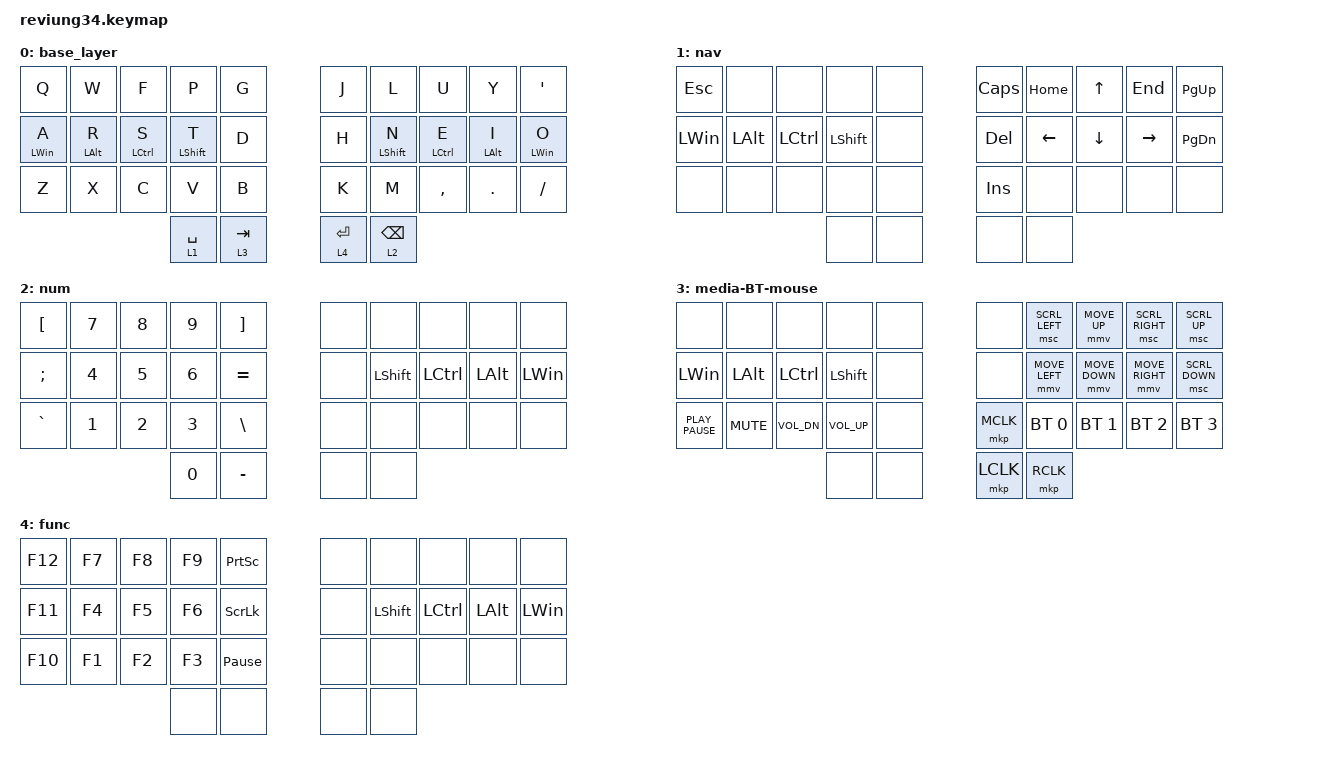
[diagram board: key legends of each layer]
#include <behaviors.dtsi>
#include <dt-bindings/zmk/bt.h>
#include <dt-bindings/zmk/keys.h>
#include <dt-bindings/zmk/mouse.h>

&mt { flavor = "tap-preferred"; };

/ {
    keymap {
        compatible = "zmk,keymap";

        base_layer {
            bindings = <
&kp Q           &kp W           &kp F               &kp P             &kp G        &kp J        &kp L             &kp U               &kp Y           &kp SQT
&mt LEFT_WIN A  &mt LEFT_ALT R  &mt LEFT_CONTROL S  &mt LEFT_SHIFT T  &kp D        &kp H        &mt LEFT_SHIFT N  &mt LEFT_CONTROL E  &mt LEFT_ALT I  &mt LEFT_WIN O
&kp Z           &kp X           &kp C               &kp V             &kp B        &kp K        &kp M             &kp COMMA           &kp DOT         &kp FSLH
                                                    &lt 1 SPACE       &lt 3 TAB    &lt 4 ENTER  &lt 2 BACKSPACE
            >;
        };

        nav {
            bindings = <
&kp ESCAPE    &none         &none             &none           &none    &kp CAPSLOCK  &kp HOME  &kp UP    &kp END    &kp PG_UP
&kp LEFT_WIN  &kp LEFT_ALT  &kp LEFT_CONTROL  &kp LEFT_SHIFT  &none    &kp DELETE    &kp LEFT  &kp DOWN  &kp RIGHT  &kp PG_DN
&none         &none         &none             &none           &none    &kp INS       &none     &none     &none      &none
                                              &none           &none    &none         &none
            >;
        };

        num {
            bindings = <
&kp LBKT   &kp N7  &kp N8  &kp N9  &kp RBKT     &none  &none           &none             &none         &none
&kp SEMI   &kp N4  &kp N5  &kp N6  &kp EQUAL    &none  &kp LEFT_SHIFT  &kp LEFT_CONTROL  &kp LEFT_ALT  &kp LEFT_WIN
&kp GRAVE  &kp N1  &kp N2  &kp N3  &kp BSLH     &none  &none           &none             &none         &none
                           &kp N0  &kp MINUS    &none  &none
            >;
        };

        media-BT-mouse {
            bindings = <
&none             &none         &none             &none            &none  &none      &msc SCRL_LEFT  &mmv MOVE_UP    &msc SCRL_RIGHT  &msc SCRL_UP
&kp LEFT_WIN      &kp LEFT_ALT  &kp LEFT_CONTROL  &kp LEFT_SHIFT   &none  &none      &mmv MOVE_LEFT  &mmv MOVE_DOWN  &mmv MOVE_RIGHT  &msc SCRL_DOWN
&kp K_PLAY_PAUSE  &kp K_MUTE    &kp C_VOL_DN      &kp C_VOLUME_UP  &none  &mkp MCLK  &bt BT_SEL 0    &bt BT_SEL 1    &bt BT_SEL 2     &bt BT_SEL 3
                                                  &none            &none  &mkp LCLK  &mkp RCLK
            >;
        };

        func {
            bindings = <
&kp F12  &kp F7  &kp F8  &kp F9  &kp PRINTSCREEN    &none  &none           &none             &none         &none
&kp F11  &kp F4  &kp F5  &kp F6  &kp SCROLLLOCK     &none  &kp LEFT_SHIFT  &kp LEFT_CONTROL  &kp LEFT_ALT  &kp LEFT_WIN
&kp F10  &kp F1  &kp F2  &kp F3  &kp PAUSE_BREAK    &none  &none           &none             &none         &none
                         &none   &none              &none  &none
            >;
        };
    };
};
